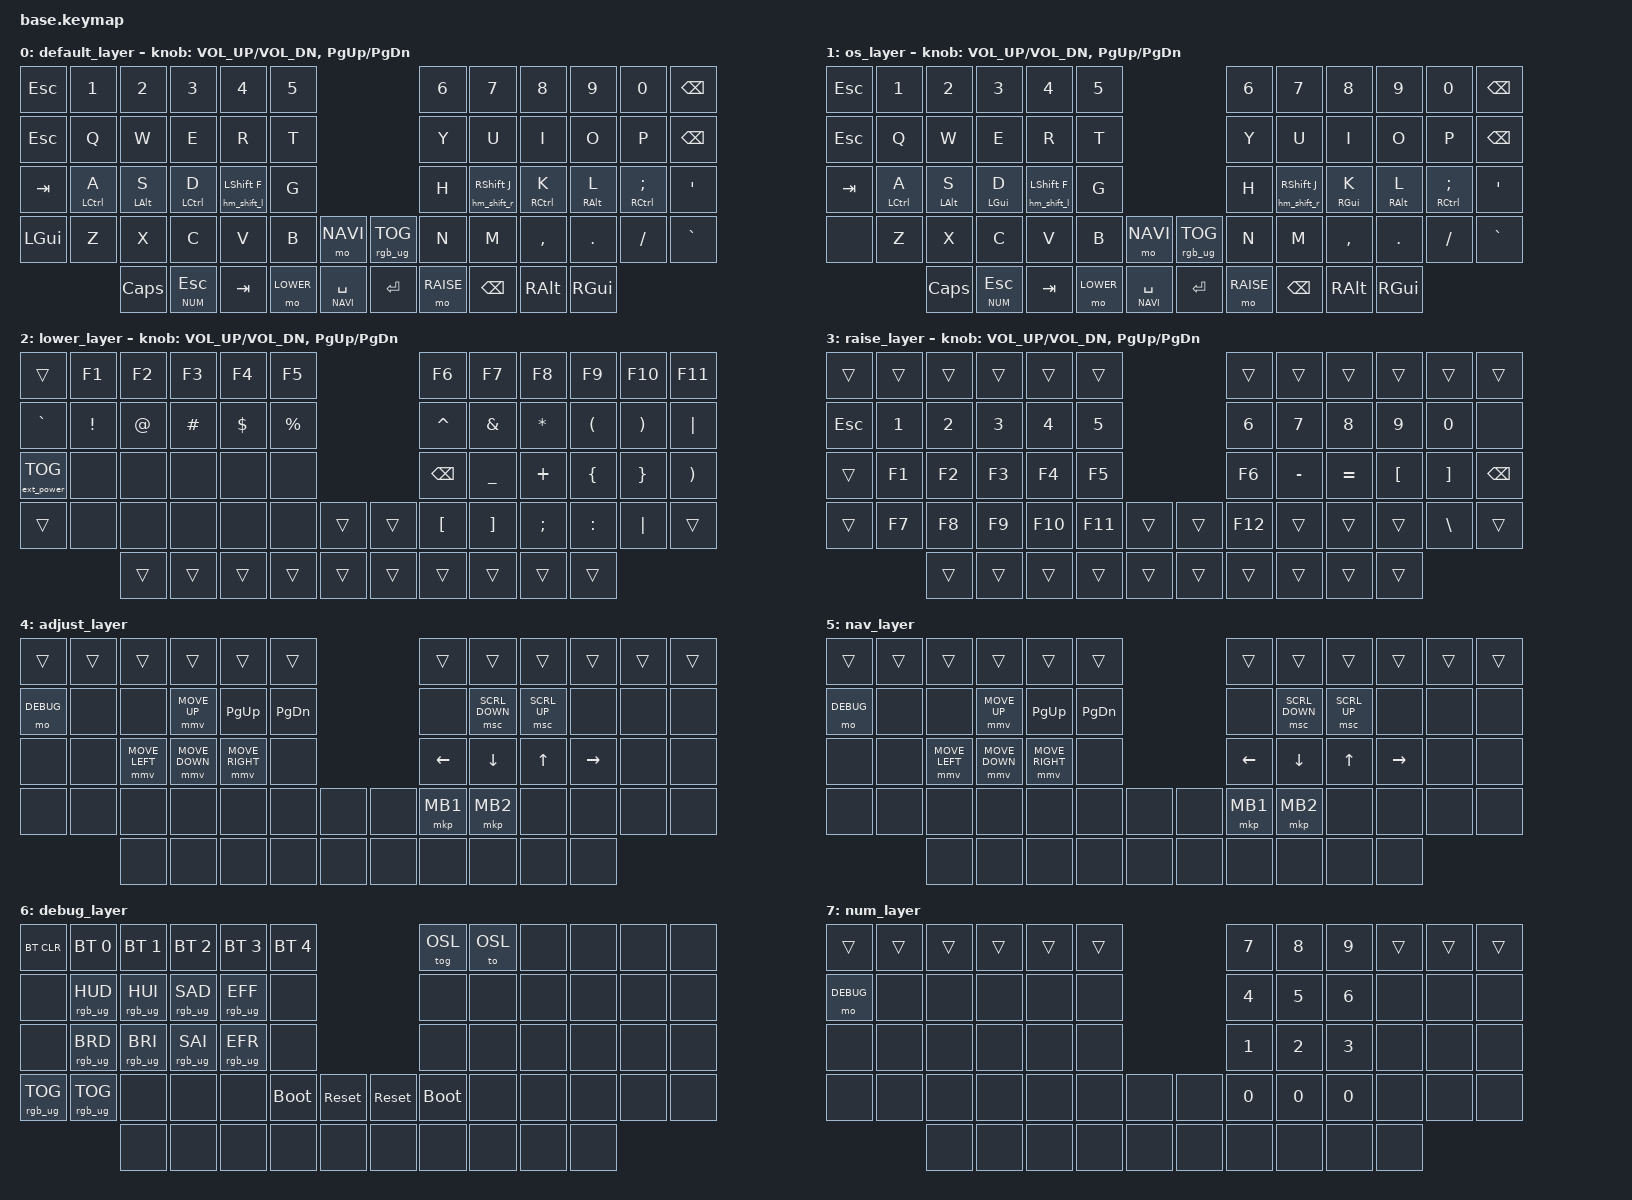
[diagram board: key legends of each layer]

/*
 * Copyright (c) 2020 The ZMK Contributors
 *
 * SPDX-License-Identifier: MIT
 */

#include "zmk-helpers/helper.h"
// Source desired key-position labels
#include "zmk-helpers/key-labels/sofle.h"

#include <behaviors.dtsi>
#include <dt-bindings/zmk/bt.h>
#include <dt-bindings/zmk/ext_power.h>
#include <dt-bindings/zmk/keys.h>
#include <dt-bindings/zmk/rgb.h>
#include <dt-bindings/zmk/pointing.h>


#define BASE 0
#define OSL 1
#define LOWER 2
#define RAISE 3
#define ADJUST 4
#define NAVI   5
#define DEBUG  6
#define NUM    7

// https://github.com/urob/zmk-config/tree/main#timeless-homerow-mods
#define KEYS_L LT0 LT1 LT2 LT3 LT4 LM0 LM1 LM2 LM3 LM4 LB0 LB1 LB2 LB3 LB4  // left hand

#define KEYS_R RT0 RT1 RT2 RT3 RT4 RM0 RM1 RM2 RM3 RM4 RB0 RB1 RB2 RB3 RB4  // right hand


#define THUMBS LH1 LH0 RH0 RH1         
#define KEYS_T LH1 LH0 RH0 RH1

#include "includes/settings.dtsi"
#include "includes/behaviours_homerow_mods.dtsi"


/ {
    // Activate ADJUST layer by pressing raise and lower
    conditional_layers {
        compatible = "zmk,conditional-layers";

        adjust_layer {
            if-layers = <LOWER RAISE>;
            then-layer = <ADJUST>;
        };
    };

    keymap {
        compatible = "zmk,keymap";

        default_layer {
            // ------------------------------------------------------------------------------------------------------------
            // |   `   |  1  |  2  |  3   |  4   |  5   |                   |  6   |  7    |  8    |  9   |   0   |       |
            // |  ESC  |  Q  |  W  |  E   |  R   |  T   |                   |  Y   |  U    |  I    |  O   |   P   | BKSPC |
            // |  TAB  |  A  |  S  |  D   |  F   |  G   |                   |  H   |  J    |  K    |  L   |   ;   |   '   |
            // | SHIFT |  Z  |  X  |  C   |  V   |  B   |  MUTE  |  |       |  N   |  M    |  ,    |  .   |   /   | SHIFT |
            //               | GUI | ALT  | CTRL | LOWER|  ENTER |  | SPACE | RAISE| CTRL  | ALT   | GUI  |
            bindings = <
&kp ESC   &kp N1  &kp N2    &kp N3    &kp N4     &kp N5                                    &kp N6     &kp N7     &kp N8     &kp N9    &kp N0    &kp BSPC
&kp ESC   &kp Q   &kp W     &kp E     &kp R      &kp T                                     &kp Y      &kp U      &kp I      &kp O     &kp P     &kp BSPC
&kp TAB   &hm_l LCTRL A &hm_l LALT S &hm_l LCTRL D &hm_shift_l LSHFT F  &kp G               &kp H &hm_shift_r RSHFT J    &hm_r RCTRL K &hm_r RALT L &hm_r RCTRL SEMI  &kp SQT
&kp LGUI &kp Z   &kp X     &kp C     &kp V       &kp B         &mo NAVI &rgb_ug RGB_TOG &kp N      &kp M      &kp COMMA  &kp DOT   &kp FSLH  &kp GRAVE
          &kp CAPS &lt NUM ESC &kp TAB &mo LOWER  &lt NAVI SPACE         &kp RET  &mo RAISE  &kp BSPC &kp RALT   &kp RGUI
            >;

            sensor-bindings = <&inc_dec_kp C_VOL_UP C_VOL_DN &inc_dec_kp PG_UP PG_DN>;
        };

        os_layer {
            // ------------------------------------------------------------------------------------------------------------
            // |   `   |  1  |  2  |  3   |  4   |  5   |                   |  6   |  7    |  8    |  9   |   0   |       |
            // |  ESC  |  Q  |  W  |  E   |  R   |  T   |                   |  Y   |  U    |  I    |  O   |   P   | BKSPC |
            // |  TAB  |  A  |  S  |  D   |  F   |  G   |                   |  H   |  J    |  K    |  L   |   ;   |   '   |
            // | SHIFT |  Z  |  X  |  C   |  V   |  B   |  MUTE  |  |       |  N   |  M    |  ,    |  .   |   /   | SHIFT |
            //               | GUI | ALT  | CTRL | LOWER|  ENTER |  | SPACE | RAISE| CTRL  | ALT   | GUI  |
            bindings = <
&kp ESC   &kp N1  &kp N2    &kp N3    &kp N4     &kp N5                                    &kp N6     &kp N7     &kp N8     &kp N9    &kp N0    &kp BSPC
&kp ESC   &kp Q   &kp W     &kp E     &kp R      &kp T                                     &kp Y      &kp U      &kp I      &kp O     &kp P     &kp BSPC
&kp TAB   &hm_l LCTRL A &hm_l LALT S &hm_l LGUI D &hm_shift_l LSHFT F  &kp G               &kp H &hm_shift_r RSHFT J    &hm_r RGUI K &hm_r RALT L &hm_r RCTRL SEMI  &kp SQT
&none     &kp Z   &kp X     &kp C     &kp V       &kp B         &mo NAVI &rgb_ug RGB_TOG &kp N      &kp M      &kp COMMA  &kp DOT   &kp FSLH  &kp GRAVE
          &kp CAPS &lt NUM ESC &kp TAB &mo LOWER  &lt NAVI SPACE         &kp RET  &mo RAISE  &kp BSPC &kp RALT   &kp RGUI
            >;

            sensor-bindings = <&inc_dec_kp C_VOL_UP C_VOL_DN &inc_dec_kp PG_UP PG_DN>;
        };

        lower_layer {
            // TODO: Some binds are waiting for shifted keycode support.
            // -------------------------------
            // |       |  F1 |  F2 |  F3  |  F4  |  F5  |                   |  F6  |  F7   |  F8   |  F9  |  F10  |  F11  |
            // |   `   |  1  |  2  |  3   |  4   |  5   |                   |  6   |  7    |  8    |  9   |   0   |  F12  |
            // |       |  !  |  @  |  #   |  $   |  %   |                   |  ^   |  &    |  *    |  (   |   )   |   |   |
            // |       |  =  |  -  |  +   |  {   |  }   |        |  |       |  [   |  ]    |  ;    |  :   |   \   |       |
            //               |     |      |      |      |        |  |       |      |       |       |      |
             bindings = <
&trans             &kp F1     &kp F2     &kp F3    &kp F4    &kp F5                       &kp F6     &kp F7    &kp F8     &kp F9     &kp F10   &kp F11
&kp GRAVE          &kp EXCL   &kp AT     &kp HASH  &kp DLLR  &kp PRCNT                    &kp CARET  &kp AMPS  &kp ASTRK  &kp LPAR   &kp RPAR  &kp PIPE
&ext_power EP_TOG  &none      &none      &none     &none     &none                        &kp BSPC   &kp UNDER &kp PLUS   &kp LBRC    &kp RBRC  &kp RPAR
&trans             &none      &none      &none     &none     &none      &trans    &trans  &kp LBKT   &kp RBKT  &kp SEMI   &kp COLON  &kp PIPE &trans
                              &trans     &trans    &trans    &trans     &trans    &trans  &trans     &trans    &trans     &trans
             >;
            sensor-bindings = <&inc_dec_kp C_VOL_UP C_VOL_DN &inc_dec_kp PG_UP PG_DN>;
        };

        raise_layer {
            // ------------------------------------------------------------------------------------------------------------
            // | BTCLR | BT1  | BT2  |  BT3  |  BT4  |  BT5 |                |      |      |       |      |       |       |
            // |       | INS  | PSCR | GUI   |       |      |                | PGUP |      |   ^   |      |       |       |
            // |       | ALT  | CTRL | SHIFT |       | CAPS |                | PGDN |   <- |   v   |  ->  |  DEL  | BKSPC |
            // |       | UNDO | CUT  | COPY  | PASTE |      |      |  |      |      |      |       |      |       |       |
            //                |      |       |       |      |      |  |      |      |      |       |      |

            bindings = <
&trans     &trans    &trans    &trans     &trans   &trans                                           &trans     &trans    &trans    &trans     &trans   &trans
&kp ESC   &kp N1  &kp N2                &kp N3        &kp N4        &kp N5                          &kp N6     &kp N7     &kp N8     &kp N9    &kp N0    &none
&trans      &kp F1        &kp F2        &kp F3        &kp F4        &kp F5                          &kp F6     &kp MINUS &kp EQUAL &kp LBKT   &kp RBKT &kp BSPC
&trans      &kp F7        &kp F8        &kp F9        &kp F10       &kp F11      &trans    &trans   &kp F12    &trans    &trans    &trans     &kp BSLH &trans
                          &trans        &trans        &trans        &trans       &trans    &trans   &trans     &trans    &trans    &trans
            >;

            sensor-bindings = <&inc_dec_kp C_VOL_UP C_VOL_DN &inc_dec_kp PG_UP PG_DN>;
        };

        adjust_layer {
            // ----------------------------------------------------------------------------------------------------------------------------
            // | BTCLR  |  BT1    |  BT2    |   BT3   |   BT4   |   BT5   |                  |      |      |       |      |       |       |
            // | moDEBUG| RGB_HUD | RGB_HUI | RGB_SAD | RGB_SAI | RGB_EFF |                  |      |      |       |      |       |       |
            // | EXTPWR | RGB_BRD | RGB_BRI |         |         |         |                  |      |      |       |      |       |       |
            // |        |         |         |         |         |         | RGB_TOG | |      |      |      |       |      |       |       |
            //                    |         |         |         |         |         | |      |      |      |       |      |

            bindings = <
                           &trans     &trans    &trans    &trans     &trans   &trans                                           &trans     &trans    &trans    &trans     &trans   &trans
&mo DEBUG          &none            &none            &mmv MOVE_UP     &kp PAGE_UP      &kp PAGE_DOWN                    &none    &msc SCRL_DOWN &msc SCRL_UP &none  &none  &none
&none              &none            &mmv MOVE_LEFT   &mmv MOVE_DOWN   &mmv MOVE_RIGHT  &none                            &kp LEFT &kp DOWN       &kp UP &kp RIGHT &none  &none 
&none              &none            &none            &none            &none            &none            &none    &none  &mkp MB1 &mkp MB2 &none  &none  &none  &none
                                    &none            &none            &none            &none            &none    &none  &none  &none  &none  &none
            >;
        };


        nav_layer {
            // ----------------------------------------------------------------------------------------------------------------------------
            // | BTCLR  |  BT1    |  BT2    |   BT3   |   BT4   |   BT5   |                  |      |      |       |      |       |       |
            // | moDEBUG| RGB_HUD | RGB_HUI | RGB_SAD | RGB_SAI | RGB_EFF |                  |      |      |       |      |       |       |
            // | EXTPWR | RGB_BRD | RGB_BRI |         |         |         |                  |      |      |       |      |       |       |
            // |        |         |         |         |         |         | RGB_TOG | |      |      |      |       |      |       |       |
            //                    |         |         |         |         |         | |      |      |      |       |      |

            bindings = <
                           &trans     &trans    &trans    &trans     &trans   &trans                                           &trans     &trans    &trans    &trans     &trans   &trans
&mo DEBUG          &none            &none            &mmv MOVE_UP     &kp PAGE_UP      &kp PAGE_DOWN                    &none    &msc SCRL_DOWN &msc SCRL_UP &none  &none  &none
&none              &none            &mmv MOVE_LEFT   &mmv MOVE_DOWN   &mmv MOVE_RIGHT  &none                            &kp LEFT &kp DOWN       &kp UP &kp RIGHT &none  &none 
&none              &none            &none            &none            &none            &none            &none    &none  &mkp MB1 &mkp MB2 &none  &none  &none  &none
                                    &none            &none            &none            &none            &none    &none  &none  &none  &none  &none
            >;
        };

        debug_layer {
            // ----------------------------------------------------------------------------------------------------------------------------
            // | BTCLR  |  BT1    |  BT2    |   BT3   |   BT4   |   BT5   |                  |      |      |       |      |       |       |
            // | EXTPWR | RGB_HUD | RGB_HUI | RGB_SAD | RGB_SAI | RGB_EFF |                  |      |      |       |      |       |       |
            // |        | RGB_BRD | RGB_BRI |         |         |         |                  |      |      |       |      |       |       |
            // |        |         |         |         |         |         | RGB_TOG | |      |      |      |       |      |       |       |
            //                    |         |         |         |         |         | |      |      |      |       |      |

            bindings = <
&bt BT_CLR         &bt BT_SEL 0     &bt BT_SEL 1     &bt BT_SEL 2     &bt BT_SEL 3     &bt BT_SEL 4                             &tog OSL   &to OSL &none  &none  &none  &none
&none              &rgb_ug RGB_HUD  &rgb_ug RGB_HUI  &rgb_ug RGB_SAD  &rgb_ug RGB_EFF  &none                                    &none       &none  &none  &none  &none  &none
&none              &rgb_ug RGB_BRD  &rgb_ug RGB_BRI  &rgb_ug RGB_SAI  &rgb_ug RGB_EFR  &none                                    &none       &none  &none  &none  &none  &none
&rgb_ug RGB_TOG    &rgb_ug RGB_TOG  &none            &none            &none            &bootloader  &sys_reset &sys_reset       &bootloader    &none  &none  &none  &none  &none
                                    &none            &none            &none            &none        &none    &none              &none  &none  &none  &none
            >;
        };

        num_layer {
            // ----------------------------------------------------------------------------------------------------------------------------
            // | BTCLR  |  BT1    |  BT2    |   BT3   |   BT4   |   BT5   |                  |      |      |       |      |       |       |
            // | moDEBUG| RGB_HUD | RGB_HUI | RGB_SAD | RGB_SAI | RGB_EFF |                  |      |      |       |      |       |       |
            // | EXTPWR | RGB_BRD | RGB_BRI |         |         |         |                  |      |      |       |      |       |       |
            // |        |         |         |         |         |         | RGB_TOG | |      |      |      |       |      |       |       |
            //                    |         |         |         |         |         | |      |      |      |       |      |

            bindings = <
                           &trans     &trans    &trans    &trans     &trans   &trans                                    &kp N7 &kp N8 &kp N9 &trans &trans &trans
&mo DEBUG          &none            &none            &none            &none            &none                            &kp N4 &kp N5 &kp N6 &none  &none  &none
&none              &none            &none            &none            &none            &none                            &kp N1 &kp N2 &kp N3 &none  &none  &none
&none              &none            &none            &none            &none            &none            &none    &none  &kp N0 &kp N0 &kp N0 &none  &none  &none
                                    &none            &none            &none            &none            &none    &none  &none  &none  &none  &none
            >;
        };
        extra1 { status = "reserved"; };

        extra2 { status = "reserved"; };

        extra3 { status = "reserved"; };

        extra4 { status = "reserved"; };
    };
};
